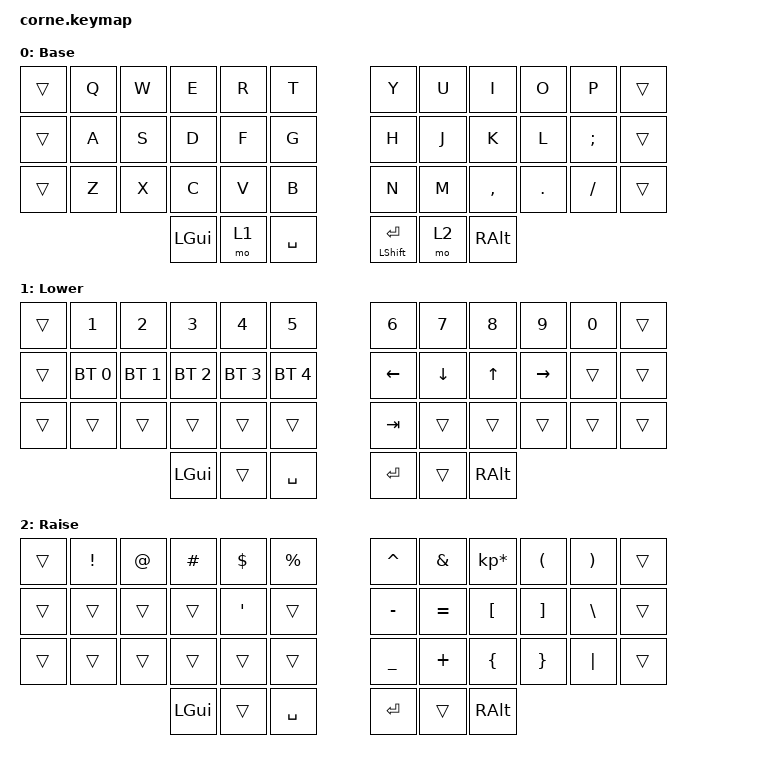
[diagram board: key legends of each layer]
/*
 * Copyright (c) 2020 The ZMK Contributors
 *
 * SPDX-License-Identifier: MIT
 */

#include <behaviors.dtsi>
#include <dt-bindings/zmk/bt.h>
#include <dt-bindings/zmk/keys.h>

/ {
    combos {
        compatible = "zmk,combos";

        new_combo {
            bindings = <&kp BACKSPACE>;
            key-positions = <16 19>;
        };
    };

    keymap {
        compatible = "zmk,keymap";

        default_layer {
            // -----------------------------------------------------------------------------------------
            // |      |  Q  |  W  |  E  |  R  |  T  |   |  Y  |  U   |  I  |  O  |  P  |      |
            // |      |  A  |  S  |  D  |  F  |  G  |   |  H  |  J   |  K  |  L  |  ;  |      |
            // |      |  Z  |  X  |  C  |  V  |  B  |   |  N  |  M   |  ,  |  .  |  /  |      |
            //                    | GUI | LWR | SPC |   | ENT | RSE  | ALT |

            label = "Base";
            bindings = <
&trans  &kp Q  &kp W     &kp E  &kp R      &kp T               &kp Y  &kp U      &kp I    &kp O     &kp P  &trans
&trans  &kp A  &kp S     &kp D  &kp F      &kp G               &kp H  &kp J      &kp K    &kp L  &kp SEMI  &trans
&trans  &kp Z  &kp X     &kp C  &kp V      &kp B               &kp N  &kp M  &kp COMMA  &kp DOT  &kp FSLH  &trans
                      &kp LGUI  &mo 1  &kp SPACE    &mt LSHIFT ENTER  &mo 2   &kp RALT
            >;
        };

        lower_layer {
            // -----------------------------------------------------------------------------------------
            // |      |  1  |  2  |  3  |  4  |  5  |   |  6  |  7  |  8  |  9  |  0  |      |
            // |      | BT1 | BT2 | BT3 | BT4 | BT5 |   | LFT | DWN |  UP | RGT |     |      |
            // |      |     |     |     |     |     |   | TAB |     |     |     |     |      |
            //                    | GUI |     | SPC |   | ENT |     | ALT |

            label = "Lower";
            bindings = <
&trans        &kp N1        &kp N2        &kp N3        &kp N4        &kp N5      &kp N6    &kp N7    &kp N8     &kp N9  &kp N0  &trans
&trans  &bt BT_SEL 0  &bt BT_SEL 1  &bt BT_SEL 2  &bt BT_SEL 3  &bt BT_SEL 4    &kp LEFT  &kp DOWN    &kp UP  &kp RIGHT  &trans  &trans
&trans        &trans        &trans        &trans        &trans        &trans     &kp TAB    &trans    &trans     &trans  &trans  &trans
                                        &kp LGUI        &trans     &kp SPACE     &kp RET    &trans  &kp RALT
            >;
        };

        raise_layer {
            // -----------------------------------------------------------------------------------------
            // |      |  !  |  @  |  #  |  $  |  %  |   |  ^  |  &  |  *  |  (  |  )  |      |
            // |      |     |     |     |     |     |   |  -  |  =  |  [  |  ]  |  \  |      |
            // |      |     |     |     |     |     |   |  _  |  +  |  {  |  }  | "|" |      |
            //                    | GUI |     | SPC |   | ENT |     | ALT |

            label = "Raise";
            bindings = <
&trans  &kp EXCL  &kp AT  &kp HASH          &kp DLLR  &kp PRCNT    &kp CARET   &kp AMPS  &kp KP_MULTIPLY  &kp LPAR  &kp RPAR  &trans
&trans    &trans  &trans    &trans  &kp SINGLE_QUOTE     &trans    &kp MINUS  &kp EQUAL         &kp LBKT  &kp RBKT  &kp BSLH  &trans
&trans    &trans  &trans    &trans            &trans     &trans    &kp UNDER   &kp PLUS         &kp LBRC  &kp RBRC  &kp PIPE  &trans
                          &kp LGUI            &trans  &kp SPACE      &kp RET     &trans         &kp RALT
            >;
        };
    };
};
